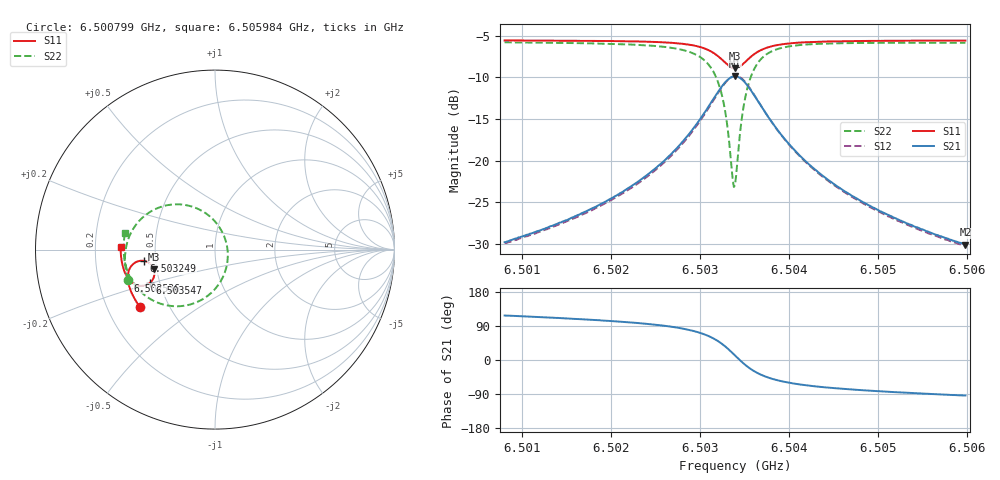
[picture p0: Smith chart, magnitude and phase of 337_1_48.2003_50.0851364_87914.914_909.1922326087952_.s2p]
#  HZ  S  RI  R  50.00
! Rohde & Schwarz Vector Network Analyzer
! Rohde-Schwarz,ZNB20-2Port,1311601062101988,3.16
! Created: UTC 3/20/2024, 11:51:07 AM
! freq[Hz]  re:S11  im:S11  re:S21  im:S21  re:S12  im:S12  re:S22  im:S22
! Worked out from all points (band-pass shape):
!   401 points, 6.500799 GHz to 6.505984 GHz, reference 50 ohm
!   highest |S21| = -9.87 dB at 6.503392 GHz (marker M1); lowest = -30.1 dB at 6.505984 GHz (marker M2)
!   |S21| within 3 dB of the highest: 6.503132 GHz to 6.503651 GHz (519.3 kHz wide, 0.00798 % of centre)
!   lowest |S11| = -8.9 dB at 6.503392 GHz (marker M3), VSWR 2.11, Z = 24.1 - j6.12 ohm
!   |S11| at or under -10 dB: nowhere
!   |S22| runs from -23.1 to -5.8 dB; largest |S21 - S12| = 0.011
!   S11 on the Smith chart (normalised r, x): 6.500799 GHz: 0.34, -0.30; 6.502536 GHz: 0.33, -0.15; 6.503249 GHz: 0.43, -0.06; 6.503547 GHz: 0.44, -0.20; 6.505984 GHz: 0.31, +0.01
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6.5007995e9  -0.4193 -0.3185  -0.015 0.0288  -0.0134 0.0291  -0.4854 -0.1676
6.5016679e9  -0.4578 -0.2555  -0.0146 0.0462  -0.0123 0.0458  -0.501 -0.0778
6.5021475e9  -0.4752 -0.2139  -0.0119 0.0651  -0.00889 0.064  -0.4994 -0.0116
6.5025364e9  -0.485 -0.1721  -0.0031 0.0938  0.000346 0.0916  -0.4814 0.0631
6.5028345e9  -0.4835 -0.1289  0.0203 0.1345  0.024 0.1305  -0.4323 0.1487
6.5030289e9  -0.4667 -0.0917  0.0663 0.1749  0.0692 0.1694  -0.3434 0.2205
6.5031586e9  -0.4352 -0.0675  0.1346 0.1976  0.1358 0.1912  -0.2193 0.2524
6.5032493e9  -0.3976 -0.0623  0.2096 0.1877  0.2099 0.1824  -0.089 0.2243
6.5033011e9  -0.3725 -0.0708  0.2572 0.1603  0.258 0.1556  -0.0103 0.168
6.5033659e9  -0.3464 -0.0965  0.3039 0.098  0.3064 0.093  0.0599 0.0484
6.5033919e9  -0.3403 -0.1107  0.3139 0.0667  0.3169 0.0608  0.0708 -0.01
6.5034048e9  -0.3383 -0.1181  0.3165 0.0504  0.3198 0.0439  0.0713 -0.04
6.5034567e9  -0.3393 -0.1484  0.3111 -0.0138  0.3139 -0.0226  0.0437 -0.1537
6.5034826e9  -0.3442 -0.1619  0.3001 -0.0422  0.302 -0.0519  0.0149 -0.2014
6.5035474e9  -0.3648 -0.1872  0.2583 -0.095  0.2573 -0.106  -0.0788 -0.2821
6.5036511e9  -0.4035 -0.2018  0.1858 -0.1307  0.1806 -0.1398  -0.2248 -0.3156
6.5038196e9  -0.4487 -0.1921  0.1062 -0.1282  0.0994 -0.133  -0.3683 -0.2704
6.5040011e9  -0.4756 -0.1708  0.0628 -0.1087  0.0567 -0.111  -0.439 -0.2073
6.5042603e9  -0.4962 -0.1407  0.0334 -0.0852  0.0287 -0.0858  -0.4815 -0.1361
6.5046751e9  -0.5124 -0.0985  0.0139 -0.0616  0.0108 -0.0612  -0.5043 -0.0579
6.5051288e9  -0.521 -0.0571  0.00492 -0.0467  0.00275 -0.046  -0.5097 0.0039
6.5059842e9  -0.5259 0.0149  -0.00208 -0.0313  -0.00332 -0.0305  -0.5013 0.0925
